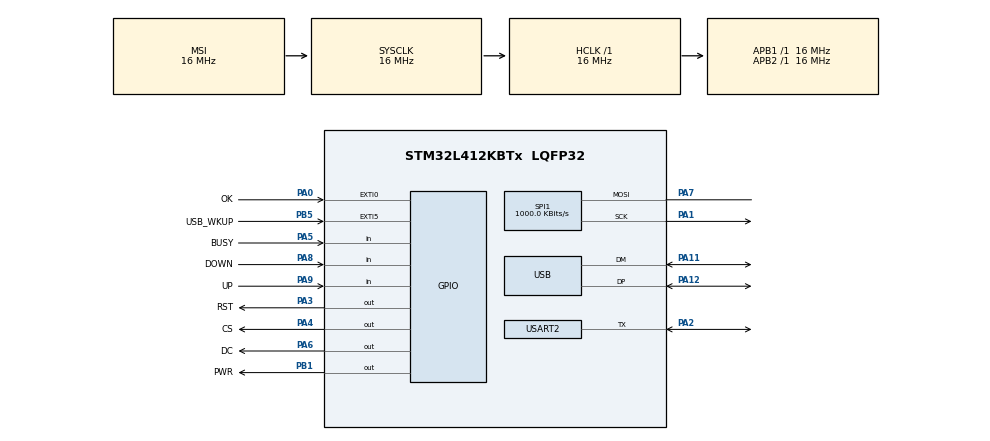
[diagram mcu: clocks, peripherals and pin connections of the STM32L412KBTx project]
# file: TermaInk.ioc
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ADC1.Channel-0\#ChannelRegularConversion=ADC_CHANNEL_VREFINT
ADC1.ContinuousConvMode=ENABLE
ADC1.NbrOfConversionFlag=1
ADC1.OffsetNumber-0\#ChannelRegularConversion=ADC_OFFSET_NONE
ADC1.Rank-0\#ChannelRegularConversion=1
ADC1.SamplingTime-0\#ChannelRegularConversion=ADC_SAMPLETIME_2CYCLES_5
ADC1.master=1
Dma.ADC1.0.Direction=DMA_PERIPH_TO_MEMORY
Dma.ADC1.0.Instance=DMA1_Channel1
Dma.ADC1.0.MemDataAlignment=DMA_MDATAALIGN_HALFWORD
Dma.ADC1.0.MemInc=DMA_MINC_ENABLE
Dma.ADC1.0.Mode=DMA_CIRCULAR
Dma.ADC1.0.PeriphDataAlignment=DMA_PDATAALIGN_HALFWORD
Dma.ADC1.0.PeriphInc=DMA_PINC_DISABLE
Dma.ADC1.0.Priority=DMA_PRIORITY_LOW
Dma.Request0=ADC1
LPTIM1.ClockPrescaler=LPTIM_PRESCALER_DIV128
Mcu.Family=STM32L4
Mcu.Name=STM32L412KBTx
Mcu.Package=LQFP32
NVIC.ADC1_2_IRQn=true\:0\:0\:false\:false\:true\:true\:true\:true
NVIC.DMA1_Channel1_IRQn=true\:0\:0\:false\:false\:true\:false\:true\:true
NVIC.EXTI0_IRQn=true\:0\:0\:false\:false\:true\:true\:true\:true
NVIC.EXTI9_5_IRQn=true\:0\:0\:false\:false\:true\:true\:true\:true
NVIC.LPTIM1_IRQn=true\:0\:0\:false\:false\:true\:true\:true\:true
NVIC.PriorityGroup=NVIC_PRIORITYGROUP_4
NVIC.USB_IRQn=true\:0\:0\:false\:false\:true\:false\:true\:true
PA0-CK_IN.GPIO_Label=OK
PA0-CK_IN.Signal=GPXTI0
PA1.GPIO_PuPd=GPIO_NOPULL
PA1.GPIO_Speed=GPIO_SPEED_FREQ_HIGH
PA1.Mode=Simplex_Bidirectional_Master
PA1.Signal=SPI1_SCK
PA11.Mode=Device
PA11.Signal=USB_DM
PA12.Mode=Device
PA12.Signal=USB_DP
PA13\ (JTMS/SWDIO).Mode=Trace_Asynchronous_SW
PA13\ (JTMS/SWDIO).Signal=SYS_JTMS-SWDIO
PA14\ (JTCK/SWCLK).Mode=Trace_Asynchronous_SW
PA14\ (JTCK/SWCLK).Signal=SYS_JTCK-SWCLK
PA2.Mode=Half_duplex(single_wire_mode)
PA2.Signal=USART2_TX
PA3.GPIO_Label=RST
PA3.GPIO_PuPd=GPIO_PULLUP
PA3.GPIO_Speed=GPIO_SPEED_FREQ_LOW
PA3.Signal=GPIO_Output
PA4.GPIO_Label=CS
PA4.GPIO_PuPd=GPIO_NOPULL
PA4.GPIO_Speed=GPIO_SPEED_FREQ_LOW
PA4.Signal=GPIO_Output
PA5.GPIO_Label=BUSY
PA5.Signal=GPIO_Input
PA6.GPIO_Label=DC
PA6.GPIO_Speed=GPIO_SPEED_FREQ_LOW
PA6.Signal=GPIO_Output
PA7.GPIO_PuPd=GPIO_NOPULL
PA7.GPIO_Speed=GPIO_SPEED_FREQ_HIGH
PA7.Mode=Simplex_Bidirectional_Master
PA7.Signal=SPI1_MOSI
PA8.GPIO_Label=DOWN
PA8.Signal=GPIO_Input
PA9.GPIO_Label=UP
PA9.Signal=GPIO_Input
PB1.GPIO_Label=PWR
PB1.Signal=GPIO_Output
PB3\ (JTDO/TRACESWO).Mode=Trace_Asynchronous_SW
PB3\ (JTDO/TRACESWO).Signal=SYS_JTDO-SWO
PB5.GPIO_Label=USB_WKUP
PB5.Signal=GPXTI5
PC14-OSC32_IN\ (PC14).Mode=LSE-External-Oscillator
PC14-OSC32_IN\ (PC14).Signal=RCC_OSC32_IN
PC15-OSC32_OUT\ (PC15).Mode=LSE-External-Oscillator
PC15-OSC32_OUT\ (PC15).Signal=RCC_OSC32_OUT
ProjectManager.HeapSize=0x600
ProjectManager.StackSize=0x600
ProjectManager.TargetToolchain=Makefile
RCC.ADCFreq_Value=16000000
RCC.AHBFreq_Value=16000000
RCC.APB1Freq_Value=16000000
RCC.APB1TimFreq_Value=16000000
RCC.APB2Freq_Value=16000000
RCC.APB2TimFreq_Value=16000000
RCC.CK48CLockSelection=RCC_USBCLKSOURCE_HSI48
RCC.CortexFreq_Value=16000000
RCC.DATA_CACHE_ENABLE=1
RCC.HCLKFreq_Value=16000000
RCC.HSE_VALUE=8000000
RCC.HSI48_VALUE=48000000
RCC.HSI_VALUE=16000000
RCC.INSTRUCTION_CACHE_ENABLE=1
RCC.LPTIM1CLockSelection=RCC_LPTIM1CLKSOURCE_LSE
RCC.MSIClockRange=RCC_MSIRANGE_8
RCC.MSI_VALUE=16000000
RCC.PLLM=2
RCC.PLLN=12
RCC.PREFETCH_ENABLE=1
RCC.RTCClockSelection=RCC_RTCCLKSOURCE_LSE
RCC.SYSCLKFreq_VALUE=16000000
RCC.USBFreq_Value=48000000
RCC.VCOOutputFreq_Value=96000000
RTC.DayLightSaving=RTC_DAYLIGHTSAVING_ADD1H
RTC.Year=25
SPI1.BaudRatePrescaler=SPI_BAUDRATEPRESCALER_16
SPI1.CalculateBaudRate=1000.0 KBits/s
SPI1.DataSize=SPI_DATASIZE_8BIT
SPI1.Direction=SPI_DIRECTION_1LINE
SPI1.Mode=SPI_MODE_MASTER
SPI1.VirtualType=VM_MASTER
USART2.VirtualMode-Half_duplex(single_wire_mode)=VM_ASYNC
USB_DEVICE.CLASS_NAME_FS=CDC
USB_DEVICE.MANUFACTURER_STRING=Termaink
USB_DEVICE.PRODUCT_STRING_CDC_FS=Termaink
USB_DEVICE.VirtualMode=Cdc
USB_DEVICE.VirtualModeFS=Cdc_FS
VP_ADC1_Vref_Input.Mode=IN-Vrefint
VP_LPTIM1_VS_LPTIM_counterModeInternalClock.Mode=Counts__internal_clock_event_00
VP_RTC_VS_RTC_Activate.Mode=RTC_Enabled
VP_RTC_VS_RTC_Calendar.Mode=RTC_Calendar
VP_USB_DEVICE_VS_USB_DEVICE_CDC_FS.Mode=CDC_FS
board=custom

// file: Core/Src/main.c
/* USER CODE BEGIN Header */
/**
  ******************************************************************************
  * @file           : main.c
  * @brief          : Main program body
  ******************************************************************************
  * @attention
  *
  * Copyright (c) 2025 STMicroelectronics.
  * All rights reserved.
  *
  * This software is licensed under terms that can be found in the LICENSE file
  * in the root directory of this software component.
  * If no LICENSE file comes with this software, it is provided AS-IS.
  *
  ******************************************************************************
  */
/* USER CODE END Header */
#include "main.h"
#include "usb_device.h"

/* USER CODE BEGIN Includes */
#include "EPD.h"
#include "EPD_GUI.h"
#include "../Fonts/fonts.h"
#include "bitmaps.h"
#include "stdlib.h"
#include "stdbool.h"
#include "ds18b20.h"
#include "queue.h"
#include "buttons.h"
#include "time.h"
#include "usbd_cdc_if.h"
#include "USB_storage.h"
// #include "USB_storage.h"
/* USER CODE END Includes */

/* USER CODE BEGIN PD */
// #define VREFINT_CAL_ADDR    ((uint32_t*)0x1FFF75AA)
uint16_t MEASURMENTS_DELTA_SEC = 10;
#define SAMPLES_PER_GRAPH 48
#define IMG_SIZE  ((EPD_WIDTH % 8 == 0)? (EPD_WIDTH / 8 ): (EPD_WIDTH / 8 + 1)) * EPD_HEIGHT
/* USER CODE END PD */

/* USER CODE BEGIN PM */
#define roundUpToDiv(x, div) (((x) + ((x) < 0 ? -(div - 1) : (div - 1))) / (div) * (div))
/* USER CODE END PM */

ADC_HandleTypeDef hadc1;
DMA_HandleTypeDef hdma_adc1;

LPTIM_HandleTypeDef hlptim1;

RTC_HandleTypeDef hrtc;

SPI_HandleTypeDef hspi1;

UART_HandleTypeDef huart2;

/* USER CODE BEGIN PV */
// int16_t data[60];
// uint8_t data_write_ptr = 0;
// bool is_first_writing = true;

float mcuVoltage = 0;
uint16_t adcData = 0;

DS18B20 temperatureSensor;

float temp;

//uint8_t *BlackImage;
// uint16_t Imagesize = ((EPD_WIDTH % 8 == 0)? (EPD_WIDTH / 8 ): (EPD_WIDTH / 8 + 1)) * EPD_HEIGHT;
uint8_t BlackImage[IMG_SIZE];
/* USER CODE END PV */

void SystemClock_Config(void);
static void MX_GPIO_Init(void);
static void MX_DMA_Init(void);
static void MX_SPI1_Init(void);
static void MX_RTC_Init(void);
static void MX_USART2_UART_Init(void);
static void MX_ADC1_Init(void);
static void MX_LPTIM1_Init(void);
/* USER CODE BEGIN PFP */
long map(long x, long in_min, long in_max, long out_min, long out_max);
void plot();
void shutdown(bool skipRTC);
void power_on();
float DS18_GET();
void DS18_INIT();
void set_time();
void get_data(bool goto_sleep);
void timestamp_to_time(uint32_t timestamp, uint8_t* hours, uint8_t* minutes);
bool USB_DEVICE_IsConnected();
void USB_SendAllData();
void syncRTC();
void Start_Timer();
/* USER CODE END PFP */

/* USER CODE BEGIN 0 */
bool send_usb;
bool send_usb_data;
bool measure;
bool ready;
bool initialise_usb_connection;
bool go_to_sleep;
bool set_rtc;
char rtc_buf[30];
uint32_t usb_conn_tmr;

volatile uint32_t seconds_passed __attribute__((section(".ram2_bss")));
#define TICKS_PER_SEC (32768 / 128) // = 256
/* USER CODE END 0 */

int main(void)
{

  /* MCU Configuration--------------------------------------------------------*/

  /* Reset of all peripherals, Initializes the Flash interface and the Systick. */
  HAL_Init();

  /* Configure the system clock */
  SystemClock_Config();

  /* Initialize all configured peripherals */
  MX_GPIO_Init();
  MX_DMA_Init();
  MX_SPI1_Init();
  MX_RTC_Init();
  MX_USART2_UART_Init();
  MX_ADC1_Init();
  MX_USB_DEVICE_Init();
  MX_LPTIM1_Init();
  /* USER CODE BEGIN 2 */
  HAL_ADC_Start_DMA(&hadc1, (uint32_t*)&adcData, 1);
  DS18_INIT();
  EPD_Init();

  q_init();

 bool is_RTC_retained = q_load();

 bool old_usb_state = false;

   HAL_NVIC_SetPriority(LPTIM1_IRQn, 0, 0);
  HAL_NVIC_EnableIRQ(LPTIM1_IRQn);
  Start_Timer();

  if (is_RTC_retained) {
    MEASURMENTS_DELTA_SEC = HAL_RTCEx_BKUPRead(&hrtc, RTC_BKP_DR4);
    if(!USB_DEVICE_IsConnected()){
      shutdown(true);
      power_on();
      seconds_passed = 0;
    }
    // Start_Timer();
  }else{
    set_time();
    seconds_passed = 0;
  }

  // HAL_GPIO_WritePin(TEST_GPIO_Port, TEST_Pin, GPIO_PIN_SET);

  q_push(DS18_GET()*100);
  // q_push(DS18_GET()*100);
  // q_push(DS18_GET()*100);
  // q_push(DS18_GET()*100);
  q_save();
  plot();
  if(!USB_DEVICE_IsConnected()){
    shutdown(false);
  }
  /* USER CODE END 2 */

  /* Infinite loop */
  /* USER CODE BEGIN WHILE */
  while (1)
  {
    if(measure){
      measure = false;
      get_data(!send_usb);
      send_usb = false;
      ready = true;
    }

    if(initialise_usb_connection){
      initialise_usb_connection = false;
      power_on();
      usb_conn_tmr = HAL_GetTick();

      // uint32_t usbinit_tmr = HAL_GetTick();
      // while(HAL_GetTick()-usbinit_tmr < 5000){
      //   if(measure){
      //     measure = false;
      //     get_data(!send_usb);
      //     send_usb = false;
      //   }
      //   if(USB_DEVICE_IsConnected()){break;}
      // }

      // uint32_t sleep_time = HAL_RTCEx_GetWakeUpTimer(&hrtc);
      // HAL_RTCEx_SetWakeUpTimer_IT(&hrtc, sleep_time, RTC_WAKEUPCLOCK_CK_SPRE_16BITS, 0);
    }

    if(send_usb_data){
      send_usb_data = false;
      USB_SendAllData();
    }

    if(set_rtc){
      set_rtc = false;
      syncRTC();
    }

    if(!USB_DEVICE_IsConnected() && old_usb_state && HAL_GetTick()-usb_conn_tmr>150){
      shutdown(true);
      // SleepForSeconds(10);
    }
    old_usb_state = USB_DEVICE_IsConnected();

    if(go_to_sleep && !USB_DEVICE_IsConnected()){
      HAL_PWREx_EnterSTOP2Mode(PWR_STOPENTRY_WFI);
    }
    /* USER CODE END WHILE */

  }
}

void SystemClock_Config(void)
{
  RCC_OscInitTypeDef RCC_OscInitStruct = {0};
  RCC_ClkInitTypeDef RCC_ClkInitStruct = {0};

  /** Configure the main internal regulator output voltage
  */
  if (HAL_PWREx_ControlVoltageScaling(PWR_REGULATOR_VOLTAGE_SCALE1) != HAL_OK)
  {
    Error_Handler();
  }

  /** Configure LSE Drive Capability
  */
  HAL_PWR_EnableBkUpAccess();
  __HAL_RCC_LSEDRIVE_CONFIG(RCC_LSEDRIVE_LOW);

  /** Initializes the RCC Oscillators according to the specified parameters
  * in the RCC_OscInitTypeDef structure.
  */
  RCC_OscInitStruct.OscillatorType = RCC_OSCILLATORTYPE_HSI48|RCC_OSCILLATORTYPE_LSE
                              |RCC_OSCILLATORTYPE_MSI;
  RCC_OscInitStruct.LSEState = RCC_LSE_ON;
  RCC_OscInitStruct.HSI48State = RCC_HSI48_ON;
  RCC_OscInitStruct.MSIState = RCC_MSI_ON;
  RCC_OscInitStruct.MSICalibrationValue = 0;
  RCC_OscInitStruct.MSIClockRange = RCC_MSIRANGE_8;
  RCC_OscInitStruct.PLL.PLLState = RCC_PLL_NONE;
  if (HAL_RCC_OscConfig(&RCC_OscInitStruct) != HAL_OK)
  {
    Error_Handler();
  }

  /** Initializes the CPU, AHB and APB buses clocks
  */
  RCC_ClkInitStruct.ClockType = RCC_CLOCKTYPE_HCLK|RCC_CLOCKTYPE_SYSCLK
                              |RCC_CLOCKTYPE_PCLK1|RCC_CLOCKTYPE_PCLK2;
  RCC_ClkInitStruct.SYSCLKSource = RCC_SYSCLKSOURCE_MSI;
  RCC_ClkInitStruct.AHBCLKDivider = RCC_SYSCLK_DIV1;
  RCC_ClkInitStruct.APB1CLKDivider = RCC_HCLK_DIV1;
  RCC_ClkInitStruct.APB2CLKDivider = RCC_HCLK_DIV1;

  if (HAL_RCC_ClockConfig(&RCC_ClkInitStruct, FLASH_LATENCY_0) != HAL_OK)
  {
    Error_Handler();
  }

  /** Enable MSI Auto calibration
  */
  HAL_RCCEx_EnableMSIPLLMode();
}

static void MX_ADC1_Init(void)
{

  ADC_MultiModeTypeDef multimode = {0};
  ADC_ChannelConfTypeDef sConfig = {0};

  /** Common config
  */
  hadc1.Instance = ADC1;
  hadc1.Init.ClockPrescaler = ADC_CLOCK_ASYNC_DIV1;
  hadc1.Init.Resolution = ADC_RESOLUTION_12B;
  hadc1.Init.DataAlign = ADC_DATAALIGN_RIGHT;
  hadc1.Init.ScanConvMode = ADC_SCAN_DISABLE;
  hadc1.Init.EOCSelection = ADC_EOC_SINGLE_CONV;
  hadc1.Init.LowPowerAutoWait = DISABLE;
  hadc1.Init.ContinuousConvMode = ENABLE;
  hadc1.Init.NbrOfConversion = 1;
  hadc1.Init.DiscontinuousConvMode = DISABLE;
  hadc1.Init.ExternalTrigConv = ADC_SOFTWARE_START;
  hadc1.Init.ExternalTrigConvEdge = ADC_EXTERNALTRIGCONVEDGE_NONE;
  hadc1.Init.DMAContinuousRequests = DISABLE;
  hadc1.Init.Overrun = ADC_OVR_DATA_PRESERVED;
  hadc1.Init.OversamplingMode = DISABLE;
  if (HAL_ADC_Init(&hadc1) != HAL_OK)
  {
    Error_Handler();
  }

  /** Configure the ADC multi-mode
  */
  multimode.Mode = ADC_MODE_INDEPENDENT;
  if (HAL_ADCEx_MultiModeConfigChannel(&hadc1, &multimode) != HAL_OK)
  {
    Error_Handler();
  }

  /** Configure Regular Channel
  */
  sConfig.Channel = ADC_CHANNEL_VREFINT;
  sConfig.Rank = ADC_REGULAR_RANK_1;
  sConfig.SamplingTime = ADC_SAMPLETIME_2CYCLES_5;
  sConfig.SingleDiff = ADC_SINGLE_ENDED;
  sConfig.OffsetNumber = ADC_OFFSET_NONE;
  sConfig.Offset = 0;
  if (HAL_ADC_ConfigChannel(&hadc1, &sConfig) != HAL_OK)
  {
    Error_Handler();
  }

}

static void MX_LPTIM1_Init(void)
{

  hlptim1.Instance = LPTIM1;
  hlptim1.Init.Clock.Source = LPTIM_CLOCKSOURCE_APBCLOCK_LPOSC;
  hlptim1.Init.Clock.Prescaler = LPTIM_PRESCALER_DIV128;
  hlptim1.Init.Trigger.Source = LPTIM_TRIGSOURCE_SOFTWARE;
  hlptim1.Init.OutputPolarity = LPTIM_OUTPUTPOLARITY_HIGH;
  hlptim1.Init.UpdateMode = LPTIM_UPDATE_IMMEDIATE;
  hlptim1.Init.CounterSource = LPTIM_COUNTERSOURCE_INTERNAL;
  hlptim1.Init.Input1Source = LPTIM_INPUT1SOURCE_GPIO;
  hlptim1.Init.Input2Source = LPTIM_INPUT2SOURCE_GPIO;
  hlptim1.Init.RepetitionCounter = 0;
  if (HAL_LPTIM_Init(&hlptim1) != HAL_OK)
  {
    Error_Handler();
  }

}

static void MX_RTC_Init(void)
{

  /* USER CODE BEGIN RTC_Init 0 */
  uint32_t RTC_key =  0xAAFF55FF;
  /* USER CODE END RTC_Init 0 */

  RTC_TimeTypeDef sTime = {0};
  RTC_DateTypeDef sDate = {0};

  /** Initialize RTC Only
  */
  hrtc.Instance = RTC;
  hrtc.Init.HourFormat = RTC_HOURFORMAT_24;
  hrtc.Init.AsynchPrediv = 127;
  hrtc.Init.SynchPrediv = 255;
  hrtc.Init.OutPut = RTC_OUTPUT_DISABLE;
  hrtc.Init.OutPutRemap = RTC_OUTPUT_REMAP_NONE;
  hrtc.Init.OutPutPolarity = RTC_OUTPUT_POLARITY_HIGH;
  hrtc.Init.OutPutType = RTC_OUTPUT_TYPE_OPENDRAIN;
  hrtc.Init.OutPutPullUp = RTC_OUTPUT_PULLUP_NONE;
  if (HAL_RTC_Init(&hrtc) != HAL_OK)
  {
    Error_Handler();
  }

  /* USER CODE BEGIN Check_RTC_BKUP */
  if (HAL_RTCEx_BKUPRead(&hrtc, RTC_BKP_DR6) == RTC_key){
    return;
  }
  /* USER CODE END Check_RTC_BKUP */

  /** Initialize RTC and set the Time and Date
  */
  sTime.Hours = 0x0;
  sTime.Minutes = 0x0;
  sTime.Seconds = 0x0;
  sTime.DayLightSaving = RTC_DAYLIGHTSAVING_ADD1H;
  sTime.StoreOperation = RTC_STOREOPERATION_RESET;
  if (HAL_RTC_SetTime(&hrtc, &sTime, RTC_FORMAT_BCD) != HAL_OK)
  {
    Error_Handler();
  }
  sDate.WeekDay = RTC_WEEKDAY_MONDAY;
  sDate.Month = RTC_MONTH_JANUARY;
  sDate.Date = 0x1;
  sDate.Year = 0x25;

  if (HAL_RTC_SetDate(&hrtc, &sDate, RTC_FORMAT_BCD) != HAL_OK)
  {
    Error_Handler();
  }

}

static void MX_SPI1_Init(void)
{

  /* SPI1 parameter configuration*/
  hspi1.Instance = SPI1;
  hspi1.Init.Mode = SPI_MODE_MASTER;
  hspi1.Init.Direction = SPI_DIRECTION_1LINE;
  hspi1.Init.DataSize = SPI_DATASIZE_8BIT;
  hspi1.Init.CLKPolarity = SPI_POLARITY_LOW;
  hspi1.Init.CLKPhase = SPI_PHASE_1EDGE;
  hspi1.Init.NSS = SPI_NSS_SOFT;
  hspi1.Init.BaudRatePrescaler = SPI_BAUDRATEPRESCALER_16;
  hspi1.Init.FirstBit = SPI_FIRSTBIT_MSB;
  hspi1.Init.TIMode = SPI_TIMODE_DISABLE;
  hspi1.Init.CRCCalculation = SPI_CRCCALCULATION_DISABLE;
  hspi1.Init.CRCPolynomial = 7;
  hspi1.Init.CRCLength = SPI_CRC_LENGTH_DATASIZE;
  hspi1.Init.NSSPMode = SPI_NSS_PULSE_ENABLE;
  if (HAL_SPI_Init(&hspi1) != HAL_OK)
  {
    Error_Handler();
  }

}

static void MX_USART2_UART_Init(void)
{

  huart2.Instance = USART2;
  huart2.Init.BaudRate = 115200;
  huart2.Init.WordLength = UART_WORDLENGTH_8B;
  huart2.Init.StopBits = UART_STOPBITS_1;
  huart2.Init.Parity = UART_PARITY_NONE;
  huart2.Init.Mode = UART_MODE_TX_RX;
  huart2.Init.HwFlowCtl = UART_HWCONTROL_NONE;
  huart2.Init.OverSampling = UART_OVERSAMPLING_16;
  huart2.Init.OneBitSampling = UART_ONE_BIT_SAMPLE_DISABLE;
  huart2.AdvancedInit.AdvFeatureInit = UART_ADVFEATURE_NO_INIT;
  if (HAL_HalfDuplex_Init(&huart2) != HAL_OK)
  {
    Error_Handler();
  }

}

static void MX_DMA_Init(void)
{

  /* DMA controller clock enable */
  __HAL_RCC_DMA1_CLK_ENABLE();

  /* DMA interrupt init */
  /* DMA1_Channel1_IRQn interrupt configuration */
  HAL_NVIC_SetPriority(DMA1_Channel1_IRQn, 0, 0);
  HAL_NVIC_EnableIRQ(DMA1_Channel1_IRQn);

}

static void MX_GPIO_Init(void)
{
  GPIO_InitTypeDef GPIO_InitStruct = {0};

  /* GPIO Ports Clock Enable */
  __HAL_RCC_GPIOC_CLK_ENABLE();
  __HAL_RCC_GPIOA_CLK_ENABLE();
  __HAL_RCC_GPIOB_CLK_ENABLE();
  __HAL_RCC_GPIOH_CLK_ENABLE();

  /*Configure GPIO pin Output Level */
  HAL_GPIO_WritePin(GPIOA, RST_Pin|CS_Pin|DC_Pin, GPIO_PIN_RESET);

  /*Configure GPIO pin Output Level */
  HAL_GPIO_WritePin(PWR_GPIO_Port, PWR_Pin, GPIO_PIN_RESET);

  /*Configure GPIO pin : OK_Pin */
  GPIO_InitStruct.Pin = OK_Pin;
  GPIO_InitStruct.Mode = GPIO_MODE_IT_RISING;
  GPIO_InitStruct.Pull = GPIO_NOPULL;
  HAL_GPIO_Init(OK_GPIO_Port, &GPIO_InitStruct);

  /*Configure GPIO pin : RST_Pin */
  GPIO_InitStruct.Pin = RST_Pin;
  GPIO_InitStruct.Mode = GPIO_MODE_OUTPUT_PP;
  GPIO_InitStruct.Pull = GPIO_PULLUP;
  GPIO_InitStruct.Speed = GPIO_SPEED_FREQ_LOW;
  HAL_GPIO_Init(RST_GPIO_Port, &GPIO_InitStruct);

  /*Configure GPIO pins : CS_Pin DC_Pin */
  GPIO_InitStruct.Pin = CS_Pin|DC_Pin;
  GPIO_InitStruct.Mode = GPIO_MODE_OUTPUT_PP;
  GPIO_InitStruct.Pull = GPIO_NOPULL;
  GPIO_InitStruct.Speed = GPIO_SPEED_FREQ_LOW;
  HAL_GPIO_Init(GPIOA, &GPIO_InitStruct);

  /*Configure GPIO pins : BUSY_Pin DOWN_Pin UP_Pin */
  GPIO_InitStruct.Pin = BUSY_Pin|DOWN_Pin|UP_Pin;
  GPIO_InitStruct.Mode = GPIO_MODE_INPUT;
  GPIO_InitStruct.Pull = GPIO_NOPULL;
  HAL_GPIO_Init(GPIOA, &GPIO_InitStruct);

  /*Configure GPIO pins : PB0 PB4 PB6 PB7 */
  GPIO_InitStruct.Pin = GPIO_PIN_0|GPIO_PIN_4|GPIO_PIN_6|GPIO_PIN_7;
  GPIO_InitStruct.Mode = GPIO_MODE_ANALOG;
  GPIO_InitStruct.Pull = GPIO_NOPULL;
  HAL_GPIO_Init(GPIOB, &GPIO_InitStruct);

  /*Configure GPIO pin : PWR_Pin */
  GPIO_InitStruct.Pin = PWR_Pin;
  GPIO_InitStruct.Mode = GPIO_MODE_OUTPUT_PP;
  GPIO_InitStruct.Pull = GPIO_NOPULL;
  GPIO_InitStruct.Speed = GPIO_SPEED_FREQ_LOW;
  HAL_GPIO_Init(PWR_GPIO_Port, &GPIO_InitStruct);

  /*Configure GPIO pins : PA10 PA15 */
  GPIO_InitStruct.Pin = GPIO_PIN_10|GPIO_PIN_15;
  GPIO_InitStruct.Mode = GPIO_MODE_ANALOG;
  GPIO_InitStruct.Pull = GPIO_NOPULL;
  HAL_GPIO_Init(GPIOA, &GPIO_InitStruct);

  /*Configure GPIO pin : USB_WKUP_Pin */
  GPIO_InitStruct.Pin = USB_WKUP_Pin;
  GPIO_InitStruct.Mode = GPIO_MODE_IT_RISING;
  GPIO_InitStruct.Pull = GPIO_NOPULL;
  HAL_GPIO_Init(USB_WKUP_GPIO_Port, &GPIO_InitStruct);

  /*Configure GPIO pin : PH3 */
  GPIO_InitStruct.Pin = GPIO_PIN_3;
  GPIO_InitStruct.Mode = GPIO_MODE_ANALOG;
  GPIO_InitStruct.Pull = GPIO_NOPULL;
  HAL_GPIO_Init(GPIOH, &GPIO_InitStruct);

  /* EXTI interrupt init*/
  HAL_NVIC_SetPriority(EXTI0_IRQn, 0, 0);
  HAL_NVIC_EnableIRQ(EXTI0_IRQn);

  HAL_NVIC_SetPriority(EXTI9_5_IRQn, 0, 0);
  HAL_NVIC_EnableIRQ(EXTI9_5_IRQn);

}

/* USER CODE BEGIN 4 */
void plot(){
  EPD_NewImage(BlackImage, EPD_WIDTH, EPD_HEIGHT, 90, WHITE);
  EPD_SelectImage(BlackImage);
  EPD_Clear(WHITE);
  int16_t min = q_get(0);
  int16_t max = q_get(0);

  for (uint8_t i = 0; i < q_len(); i++){
    if(q_get(i) <= min){
      min = q_get(i);
    }
    if(q_get(i) >= max){
      max = q_get(i);
    }
  }

  if(min == max){
    min-=10;
    max+=10;
  }

  if(min < 0 && max > 0){
    EPD_DrawLine(10, map(0, min, max, 110, 22), 250, map(0, min, max, 110, 22), BLACK, DOT_PIXEL_1X1, LINE_STYLE_SOLID);
  }

  uint16_t dt;
  switch (max - min)
  {
  case 2000 ... 4000:
    dt = 1000;
    break;
  case 800 ... 1999:
    dt = 500;
    break;
  case 400 ... 799:
    dt = 200;
    break;
  case 250 ... 399:
    dt = 100;
    break;
  case 100 ... 249:
    dt = 50;
    break;
  case 50 ... 99:
    dt = 20;
    break;
  case 25 ... 49:
    dt = 10;
    break;
  case 0 ... 24:
    dt = 5;
    break;
  default:
    dt = 2000;
    break;
  }

  for (int16_t x = roundUpToDiv(min, dt); x < max+dt; x += dt){
    bool st = LINE_STYLE_DOTTED;
    if(x == 0){st = LINE_STYLE_SOLID;}
    if(x > max && map(x, min, max, 110, 22) < 22){break;}
    EPD_DrawLine(10, map(x, min, max, 110, 22), 250, map(x, min, max, 110, 22), BLACK, DOT_PIXEL_1X1, st);
    char buf[15];
    uint8_t ln;
    if(x%100 == 0){
      ln = sprintf(buf, "%d", x/100);
    }
    else if(x%10 == 0 && max-min < 100){
      uint16_t rounded = (x + 5) / 10;
      uint8_t int_part = rounded / 10;
      uint8_t frac_part = rounded % 10;
      ln = sprintf(buf, "%d.%d", int_part, frac_part);
    }else if(x%5 == 0 && max-min < 10){
      uint8_t int_part = x / 100;
      uint8_t frac_part = x % 100;
      ln = sprintf(buf, "%d.%d", int_part, frac_part);
    }
    else{continue;}

    EPD_SetRotate(0);
    EPD_DrawString_EN(map(x, min, max, 2, 88)+8-(2*ln), 0,  buf, &Font8, WHITE, BLACK);
    EPD_SetRotate(90);
  }

  // Plot graf
  // uint32_t timestamp = HAL_RTCEx_BKUPRead(&hrtc, RTC_BKP_DR5);
  uint32_t timestamp = UDISK_tst();
  for (uint8_t i = 0; i < q_len(); i++){
    EPD_DrawLine(10+(i*5), map(q_get(i), min, max, 110, 22), 10+((i+1)*5), map(q_get(i+1), min, max, 110, 22), BLACK, DOT_PIXEL_1X1, LINE_STYLE_SOLID);
  }

  for (int8_t i = q_len(); i > 0; i-=8){
    if(i == q_len()){continue;}
    EPD_DrawLine(10+(i*5), 20, 10+(i*5), 112, BLACK, DOT_PIXEL_1X1, LINE_STYLE_DOTTED);
    uint32_t this_time = timestamp - MEASURMENTS_DELTA_SEC*(q_len()-i-1);
    // struct tm  ts;
    // ts = *localtime((time_t*) &this_time);
    // char t_buf[15];
    // sprintf(t_buf, "%.2d:%.2d", ts.tm_hour, ts.tm_min);
    // EPD_DrawString_EN(10+(i*5), 114, t_buf, &Font8, WHITE, BLACK);

    char timest_buf[15];
    // sprintf(timest_buf, "%d", this_time-1740000000);
    // EPD_DrawString_EN(10+(i*5), 114, timest_buf, &Font8, WHITE, BLACK);

    uint8_t hours, minutes;
    timestamp_to_time(this_time, &hours, &minutes);
    sprintf(timest_buf, "%02d:%02d", hours, minutes);
    EPD_DrawString_EN(10+(i*5), 114, timest_buf, &Font8, WHITE, BLACK);
  }

  char buf[12];
  if(dt < 100 && dt >= 10){
    sprintf(buf, "%d.%d*C/div", dt/100, dt-(dt/100));
  }else if(dt < 10){
    sprintf(buf, "%d.0%d*C/div", dt/100, dt-(dt/100));
  }else{
    sprintf(buf, "%d*C/div", dt/100);
  }
  EPD_DrawString_EN(0, 0, buf, &Font12, WHITE, BLACK);

  mcuVoltage = 0xFFF * 1.18 / adcData;

  // char v_buf[20];
  // sprintf(v_buf, "%d %d", (uint32_t)(mcuVoltage*100), adcData);
  // EPD_DrawString_EN(80, 0, v_buf, &Font12, WHITE, BLACK);
  if(mcuVoltage < 2.25){
    EPD_SetRotate(0);
    EPD_DrawBMP(107, 95, 16, 26, dead_batt_26x16);
    EPD_SetRotate(90);
  }

  EPD_DrawLine(10, 112, 250, 112, BLACK, DOT_PIXEL_1X1, LINE_STYLE_SOLID);
  EPD_DrawLine(10, 20, 10, 112, BLACK, DOT_PIXEL_1X1, LINE_STYLE_SOLID);

  RTC_TimeTypeDef sTime = {0};
  RTC_DateTypeDef sDate = {0};

  HAL_RTC_GetTime(&hrtc, &sTime, RTC_FORMAT_BIN);
  HAL_RTC_GetDate(&hrtc, &sDate, RTC_FORMAT_BIN);

  EPD_TIME time;
  time.Day = sDate.Date;
  time.Month = sDate.Month;
  time.Year = sDate.Year;
  EPD_DrawDate(175, 0, &time, &Font16, WHITE, BLACK);

  //
  // char timest_buf[15];
  // uint8_t day, month, year, hours, minutes, seconds;
  // sscanf(rtc_buf, "s%02d.%02d.%02d.%02d.%02d.%02d", &hours, &minutes, &seconds, &year, &month, &day);
  // sprintf(timest_buf, "%d/%d/%d",  hours, minutes, seconds);
  // EPD_DrawString_EN(85, 35, timest_buf, &Font12, WHITE, BLACK);
  //
  char temp_buf[10];
  sprintf(temp_buf, "%d.%dC", q_get(q_len()-1)/100, q_get(q_len()-1)%100);
  EPD_DrawString_EN(85, 0, temp_buf, &Font16, WHITE, BLACK);

  EPD_Display_Base(BlackImage);
  HAL_Delay(100);
}

long map(long x, long in_min, long in_max, long out_min, long out_max) {
  if(in_min == in_max){
    return (out_max+out_min)/2;
  }
  return (x - in_min) * (out_max - out_min) / (in_max - in_min) + out_min;
}

void shutdown(bool skipRTC){
  EPD_Sleep();
  EPD_Exit();

  __HAL_RCC_SPI1_CLK_DISABLE();
  HAL_SPI_DeInit(&hspi1);
  GPIO_InitTypeDef GPIO_InitStruct = {0};
  GPIO_InitStruct.Pin = GPIO_PIN_1 | GPIO_PIN_7 | GPIO_PIN_5 | GPIO_PIN_4 | GPIO_PIN_3 | GPIO_PIN_6;
  GPIO_InitStruct.Mode = GPIO_MODE_ANALOG;
  GPIO_InitStruct.Pull = GPIO_NOPULL;
  HAL_GPIO_Init(GPIOA, &GPIO_InitStruct);

  go_to_sleep = true;

  HAL_SuspendTick();
  HAL_PWREx_EnterSTOP2Mode(PWR_STOPENTRY_WFI);
}

void power_on(void){
  HAL_ResumeTick();
  SystemClock_Config();
  MX_GPIO_Init();
  MX_SPI1_Init();
  MX_USB_DEVICE_Init();
  EPD_Init();
}

void Start_Timer(){
  HAL_LPTIM_Counter_Start_IT(&hlptim1, 256);
}

void HAL_LPTIM_AutoReloadMatchCallback(LPTIM_HandleTypeDef *hlptim)
{
  // HAL_GPIO_TogglePin(TEST_GPIO_Port, TEST_Pin);
  seconds_passed++;

  if (seconds_passed >= MEASURMENTS_DELTA_SEC)
  {
      measure = true;
      ready = false;
      go_to_sleep = false;
      send_usb = USB_DEVICE_IsConnected();
      seconds_passed = 0;
  }
}

void DS18_INIT(){
  DS18B20_Init(&temperatureSensor, &huart2);
  DS18B20_InitializationCommand(&temperatureSensor);
  DS18B20_ReadRom(&temperatureSensor);
  DS18B20_ReadScratchpad(&temperatureSensor);
  uint8_t settings[3];
  settings[0] = temperatureSensor.temperatureLimitHigh;
  settings[1] = temperatureSensor.temperatureLimitLow;
  settings[2] = DS18B20_12_BITS_CONFIG;
  DS18B20_InitializationCommand(&temperatureSensor);
  DS18B20_SkipRom(&temperatureSensor);
  DS18B20_WriteScratchpad(&temperatureSensor, settings);
}

float DS18_GET(){
	DS18B20_InitializationCommand(&temperatureSensor);
	DS18B20_SkipRom(&temperatureSensor);
	DS18B20_ConvertT(&temperatureSensor, DS18B20_DATA);
	DS18B20_InitializationCommand(&temperatureSensor);
	DS18B20_SkipRom(&temperatureSensor);
	DS18B20_ReadScratchpad(&temperatureSensor);
	return temperatureSensor.temperature;
}

void set_time(){
  bool flag = false; // true ONLY FOR DEBUG!!!
  Button bt_ok = {GPIOA, GPIO_PIN_0, TYPE_LOW_PULL};
  Button bt_down = {GPIOA, GPIO_PIN_8, TYPE_LOW_PULL};
  Button bt_up = {GPIOA, GPIO_PIN_9, TYPE_LOW_PULL};

  int8_t d_time[6] = {25, 03, 24, 12, 00, 24};
  uint8_t up_lim[6] = {99, 12, 31, 23, 59, 48};
  uint8_t down_lim[6] = {0, 1, 1, 0, 0, 1};
  uint8_t edit_ptr = 0;

  uint32_t upd_tmr = HAL_GetTick();
  bool edited;
  // FIX THIS
  tick(&bt_ok);
  tick(&bt_up);
  tick(&bt_down);
  isClicked(&bt_ok);
  isClicked(&bt_down);
  isClicked(&bt_up);
  /*                 */
  while(!flag){
    EPD_NewImage(BlackImage, EPD_WIDTH, EPD_HEIGHT, 90, WHITE);
    EPD_SelectImage(BlackImage);
    EPD_Clear(WHITE);

    EPD_TIME datetime;
    datetime.Day = d_time[2];
    datetime.Month = d_time[1];
    datetime.Year = d_time[0];
    datetime.Hour = d_time[3];
    datetime.Min = d_time[4];

    EPD_DrawDate(64, 32, &datetime, &Font24, WHITE, BLACK);
    EPD_DrawTime(86, 64, &datetime, &Font24, WHITE, BLACK);
    char scaleBuf[15];
    sprintf(scaleBuf, "Scale: %dh", d_time[5]);
    EPD_DrawString_EN(66, 92, scaleBuf, &Font16, WHITE, BLACK);

    if(edit_ptr < 3){
      EPD_DrawLine(150-(edit_ptr*42), 52, 150-(edit_ptr*42)+30, 52, BLACK, 2, LINE_STYLE_SOLID);
    }else if(edit_ptr < 5){
      EPD_DrawLine(-38+(edit_ptr*42), 84, -38+(edit_ptr*42)+30, 84, BLACK, 2, LINE_STYLE_SOLID);
    } else{
      EPD_DrawLine(144, 108, 168, 108, BLACK, 2, LINE_STYLE_SOLID);
    }

    EPD_DrawChar(26, 0, '+', &Font16, BLACK, WHITE);
    EPD_DrawChar(80, 0, '-', &Font16, BLACK, WHITE);
    EPD_DrawString_EN(124, 0, "OK", &Font16, WHITE, BLACK);
    EPD_Display_Base(BlackImage);

    edited = false;
    for(;;){

      if(set_rtc){
        syncRTC();
        return;
      }

      tick(&bt_ok);
      tick(&bt_up);
      tick(&bt_down);
      if(isClicked(&bt_ok)){
        edit_ptr++;
        if(edit_ptr == 6){
          flag = true;
        }
        break;
      }
      if(isClicked(&bt_up)){
        d_time[edit_ptr]++;
        if(d_time[edit_ptr]> up_lim[edit_ptr]){
          d_time[edit_ptr] = down_lim[edit_ptr];
        }
        edited = true;
        upd_tmr = HAL_GetTick();
      }
      if(isClicked(&bt_down)){
        d_time[edit_ptr]--;
        if(d_time[edit_ptr]< down_lim[edit_ptr]){
          d_time[edit_ptr] = up_lim[edit_ptr];
        }
        edited = true;
        upd_tmr = HAL_GetTick();
      }

      if(HAL_GetTick() - upd_tmr > 1000 && edited){
        break;
      }
    }
  }
  RTC_TimeTypeDef sTime = {0};
  RTC_DateTypeDef sDate = {0};

  sTime.Hours = d_time[3];
  sTime.Minutes = d_time[4];
  sDate.Year = d_time[0];
  sDate.Month = d_time[1];
  sDate.Date = d_time[2];
  sDate.WeekDay = RTC_WEEKDAY_MONDAY;
  sTime.DayLightSaving = RTC_DAYLIGHTSAVING_NONE;
	sTime.StoreOperation = RTC_STOREOPERATION_RESET;

  HAL_RTC_SetDate(&hrtc, &sDate, RTC_FORMAT_BIN);
  HAL_RTC_SetTime(&hrtc, &sTime, RTC_FORMAT_BIN);

  MEASURMENTS_DELTA_SEC = d_time[5]*75;
  HAL_PWR_EnableBkUpAccess();
  HAL_RTCEx_BKUPWrite(&hrtc, RTC_BKP_DR4, (long) MEASURMENTS_DELTA_SEC);

  Start_Timer();
}

void get_data(bool goto_sleep){
  if(goto_sleep){
    power_on();
  }

  q_load();
  q_push(DS18_GET()*100);
  // q_push(DS18_GET()*100);
  // q_push(DS18_GET()*100);
  // q_push(DS18_GET()*100);
  plot();
  q_save();

  if(goto_sleep){
    shutdown(false);
  }
}

void timestamp_to_time(uint32_t timestamp, uint8_t* hours, uint8_t* minutes) {
  uint32_t seconds_in_day = 86400;
  uint32_t seconds_in_hour = 3600;
  uint32_t seconds_in_minute = 60;

  // Get seconds since midnight (UTC)
  uint32_t time_of_day = timestamp % seconds_in_day;

  *hours = time_of_day / seconds_in_hour;
  *minutes = (time_of_day % seconds_in_hour) / seconds_in_minute;
}

void USB_CDC_RxHandler(uint8_t* Buf, uint32_t Len)
{
  switch(Buf[0]){
    case 't':
      CDC_Transmit_FS("Termaink Ready\n\r", 17);
      break;
    case 'g':
      send_usb_data = true;
      break;
    case 's':
      set_rtc = true;
      memcpy(rtc_buf, Buf, 25);
      break;
  }
}

void syncRTC(){
  RTC_TimeTypeDef sTime = {0};
  RTC_DateTypeDef sDate = {0};
  uint8_t day[2], month[2], year[2], hours[2], minutes[2], seconds[2], scale[2];

  // uint8_t matched = sscanf(rtc_buf, "s%02d.%02d.%02d.%02d.%02d.%02d", &hours, &minutes, &seconds, &year , &month, &day);
  // if (matched < 6){
  //   CDC_Transmit_FS("ERR\n\r", 6);
  //   return;
  // }

  memcpy(hours, &rtc_buf[1], 2);
  memcpy(minutes, &rtc_buf[4], 2);
  memcpy(seconds, &rtc_buf[7], 2);
  memcpy(year, &rtc_buf[10], 2);
  memcpy(month, &rtc_buf[13], 2);
  memcpy(day, &rtc_buf[16], 2);
  memcpy(scale, &rtc_buf[19], 2);

  sTime.Hours = atoi(hours);
  sTime.Minutes = atoi(minutes);
  sTime.Seconds = atoi(seconds);
  sDate.Year = atoi(year);
  sDate.Month = atoi(month);
  sDate.Date = atoi(day);
  MEASURMENTS_DELTA_SEC = atoi(scale)*75;
  HAL_PWR_EnableBkUpAccess();
  HAL_RTCEx_BKUPWrite(&hrtc, RTC_BKP_DR4, (long) MEASURMENTS_DELTA_SEC);

  sDate.WeekDay = RTC_WEEKDAY_MONDAY;
  sTime.DayLightSaving = RTC_DAYLIGHTSAVING_NONE;
  sTime.StoreOperation = RTC_STOREOPERATION_RESET;

  HAL_RTC_SetTime(&hrtc, &sTime, RTC_FORMAT_BIN);
  HAL_RTC_SetDate(&hrtc, &sDate, RTC_FORMAT_BIN);

  HAL_PWR_EnableBkUpAccess();
  HAL_RTCEx_BKUPWrite(&hrtc, RTC_BKP_DR6, KEY);

  CDC_Transmit_FS("OK\n\r", 5);
}

void USB_SendAllData(){
  char buf[20];
  uint16_t len = UDISK_len();
  uint8_t ln = sprintf(buf, "%d\n\r", len);
  CDC_Transmit_FS(buf, ln);
  for (uint16_t i = len; i > 0; i--){
    memset(buf, 0x00, 20);
    ln = sprintf(buf, "%d\n\r", UDISK_get(i));
    CDC_Transmit_FS(buf, ln);
    HAL_Delay(1);
  }
  memset(buf, 0x00, 20);
  ln = sprintf(buf, "T%d\n\r", UDISK_tst());
  CDC_Transmit_FS(buf, ln);
  HAL_Delay(2);
  memset(buf, 0x00, 20);
  ln = sprintf(buf, "D%d\n\r", MEASURMENTS_DELTA_SEC);
  CDC_Transmit_FS(buf, ln);
}

// void HAL_RTCEx_WakeUpTimerEventCallback(RTC_HandleTypeDef *hrtc){
//   HAL_RTCEx_SetWakeUpTimer_IT(hrtc, 10, RTC_WAKEUPCLOCK_CK_SPRE_16BITS, 0);
//   measure = true;
//   send_usb = USB_DEVICE_IsConnected();
// }

void HAL_GPIO_EXTI_Callback(uint16_t GPIO_Pin)
{
  if(GPIO_Pin == GPIO_PIN_5) {
    initialise_usb_connection = true;
    // power_on();
  } else {
      __NOP();
  }
}

bool USB_DEVICE_IsConnected(){
  return HAL_GPIO_ReadPin(USB_WKUP_GPIO_Port, USB_WKUP_Pin);
}
/* USER CODE END 4 */

void Error_Handler(void)
{
  __disable_irq();
  while (1)
  {
  }
}
